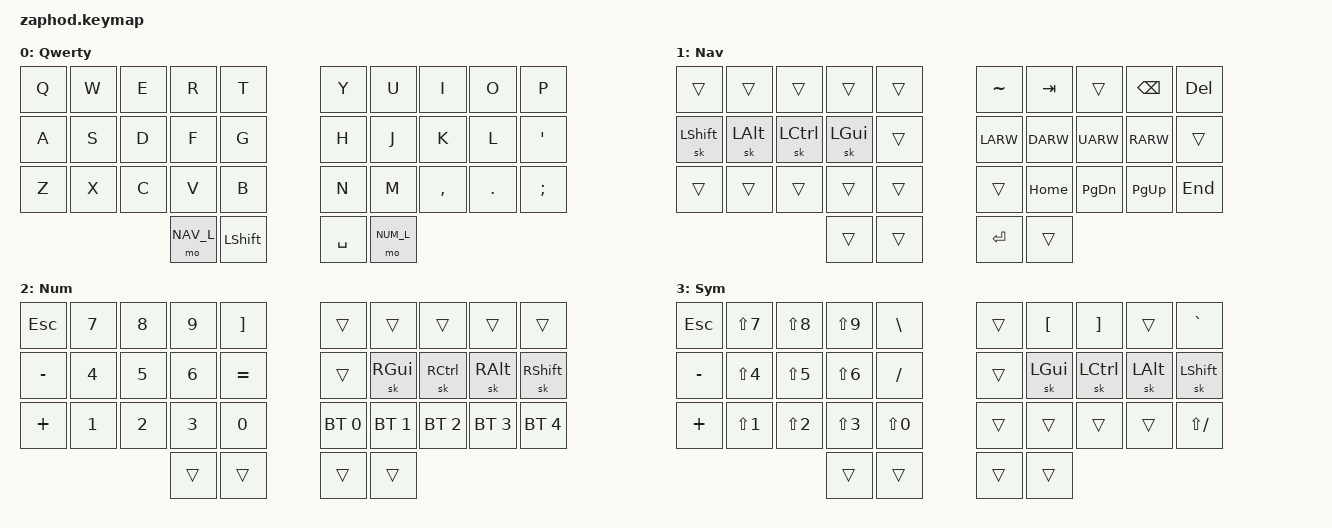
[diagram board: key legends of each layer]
/*
 * Copyright (c) 2021 Pete Johanson
 *
 * SPDX-License-Identifier: MIT
 */

#include <behaviors.dtsi>
#include <dt-bindings/zmk/keys.h>
#include <dt-bindings/zmk/bt.h>
#include <dt-bindings/zmk/outputs.h>

#define NAV_L 1
#define NUM_L 2
#define SYM_L 3
#define FUN_L 4
#define MED_L 5

#define QWERTY_BASE

// Using layer taps on thumbs, having quick tap as well helps w/ repeating space/backspace
&lt { quick_tap_ms = <200>; };

/ {
    tap_dances {
    	dot_ques: dot_ques {
		compatible = "zmk,behavior-tap-dance";
		label = "TD_DOT_QUES";
		#binding-cells = <0>;
		tapping-term-ms = <100>;
		bindings = <&kp DOT>, <&kp LS(FSLH)>;
	};
    };

    cond_layers {
        compatible = "zmk,conditional-layers";
	tri {
	    if-layers = <NUM_L NAV_L>;
	    then-layer = <SYM_L>;
        };
    };

    combos {
        compatible = "zmk,combos";

	l_curly_bracket {
	    timeout-ms = <50>;
            key-positions = <1 11>;
            bindings = <&kp LS(LBKT)>;
	    layers = <NUM_L>;
	};

	r_curly_bracket {
	    timeout-ms = <50>;
            key-positions = <3 13>;
            bindings = <&kp LS(RBKT)>;
	    layers = <NUM_L>;
	};
	lbracket {
	    timeout-ms = <50>;
            key-positions = <11 21>;
            bindings = <&kp LBKT>;
	    layers = <NUM_L>;
	};

	rbracket {
	    timeout-ms = <50>;
            key-positions = <13 23>;
            bindings = <&kp RBKT>;
	    layers = <NUM_L>;
	};

	ques_mark_combo {
	    timeout-ms = <50>;
            key-positions = <18 28>;
            bindings = <&kp LS(FSLH)>;
	};

	fslash_combo {
	    timeout-ms = <50>;
            key-positions = <19 29>;
            bindings = <&kp FSLH>;
	};

	/*
        fn_mo {
	    timeout-ms = <50>;
            key-positions = <32 33>;
            bindings = <&mo FUN_L>;
        };

        media_mo {
	    timeout-ms = <50>;
            key-positions = <30 31>;
            bindings = <&mo MED_L>;
        };

        caps_word_combo {
	    timeout-ms = <50>;
            key-positions = <13 16>;
            bindings = <&caps_word>;
        };
	*/
    };

    behaviors {
        hm: homerow_mods {
            compatible = "zmk,behavior-hold-tap";
            label = "homerow mods";
            #binding-cells = <2>;
            tapping_term_ms = <150>;
            flavor = "tap-preferred";
            bindings = <&kp>, <&kp>;
        };
    };

    keymap {
        compatible = "zmk,keymap";

#ifdef QWERTY_BASE
        qwerty_layer {
            label = "Qwerty";
            bindings = <
                &kp Q      &kp W      &kp E       &kp R          &kp T         &kp Y            &kp U          &kp I       &kp O      &kp P
                &kp A      &kp S      &kp D       &kp F          &kp G         &kp H            &kp J          &kp K       &kp L      &kp QUOT
                &kp Z      &kp X      &kp C       &kp V          &kp B         &kp N            &kp M          &kp COMMA   &kp DOT    &kp SEMI
                                                  &mo NAV_L     &kp LSHFT      &kp SPACE  &mo NUM_L
            >;
        };
#else
        colemak_dhm_layer {
            label = "Colemak-DHm";
            bindings = <
                &kp Q      &kp W      &kp F       &kp P          &kp B         &kp J            &kp L          &kp U       &kp Y      &kp QUOT
                &kp A      &kp R      &kp S       &kp T          &kp G         &kp M            &kp N          &kp E       &kp I      &kp O
                &kp Z      &kp X      &kp C       &kp D          &kp V         &kp K            &kp H          &kp COMMA   &kp DOT    &kp SEMI     
                                                  &mo NAV_L     &kp LSHFT      &kp SPACE        &mo NUM_L
            >;
        };
#endif

        nav_layer {
            label = "Nav";
            bindings = <
                &trans     &trans     &trans      &trans          &trans       &kp TILDE        &kp TAB        &trans      &kp BKSP   &kp DEL
                &sk LSHFT  &sk LALT   &sk LCTRL   &sk LGUI        &trans       &kp LARW         &kp DARW       &kp UARW    &kp RARW   &trans
                &trans     &trans     &trans      &trans          &trans       &trans           &kp HOME       &kp PG_DN   &kp PG_UP  &kp END
                                                  &trans          &trans       &kp RET          &trans
            >;
        };

        num_layer {
            label = "Num";
            bindings = <
                &kp ESC   &kp N7     &kp N8      &kp N9          &kp RBKT      &trans        &trans         &trans       &trans       &trans
                &kp MINUS &kp N4     &kp N5      &kp N6          &kp EQUAL     &trans        &sk RGUI       &sk RCTRL    &sk RALT     &sk RSHFT
                &kp PLUS  &kp N1     &kp N2      &kp N3          &kp N0        &bt BT_SEL 0  &bt BT_SEL 1   &bt BT_SEL 2 &bt BT_SEL 3 &bt BT_SEL 4
                                                 &trans          &trans        &trans        &trans
            >;
        };
	
	sym_layer {
            label = "Sym";
            bindings = <
                &kp ESC    &kp LS(N7)  &kp LS(N8)  &kp LS(N9) &kp BSLH         &trans        &kp LBKT &kp RBKT  &trans    &kp GRAVE
                &kp MINUS  &kp LS(N4)  &kp LS(N5)  &kp LS(N6) &kp FSLH         &trans        &sk LGUI &sk LCTRL &sk LALT  &sk LSHFT
	        &kp PLUS   &kp LS(N1)  &kp LS(N2)  &kp LS(N3) &kp LS(N0)       &trans        &trans   &trans    &trans    &kp LS(FSLH)
                                                   &trans     &trans           &trans        &trans
            >;
        };

	/*
        fun_layer {
            label = "Fun";
            bindings = <
                &kp F12     &kp F7     &kp F8      &kp F9     &kp PSCRN         &trans          &trans         &trans      &trans     &trans
                &kp F11     &kp F4     &kp F5      &kp F6     &kp SLCK          &trans          &trans         &trans      &trans     &trans
                &kp F10     &kp F1     &kp F2      &kp F3     &kp PAUSE_BREAK   &trans          &trans         &trans      &trans     &trans
                                                   &none      &none             &trans          &trans
            >;
        };
        media_layer {
            label = "Media";
            bindings = <
                &trans	   &trans     &trans      &trans          &trans       &trans           &trans         &trans       &trans       &trans
                &trans     &trans     &trans      &trans          &trans       &trans           &kp C_PREV     &kp C_VOL_DN &kp C_VOL_UP &kp C_NEXT
                &trans     &trans     &trans      &trans          &trans       &trans           &trans         &trans       &trans       &trans
                                                  &trans          &trans       &kp C_PLAY_PAUSE &kp C_MUTE
            >;
        };
	*/
    };
};
